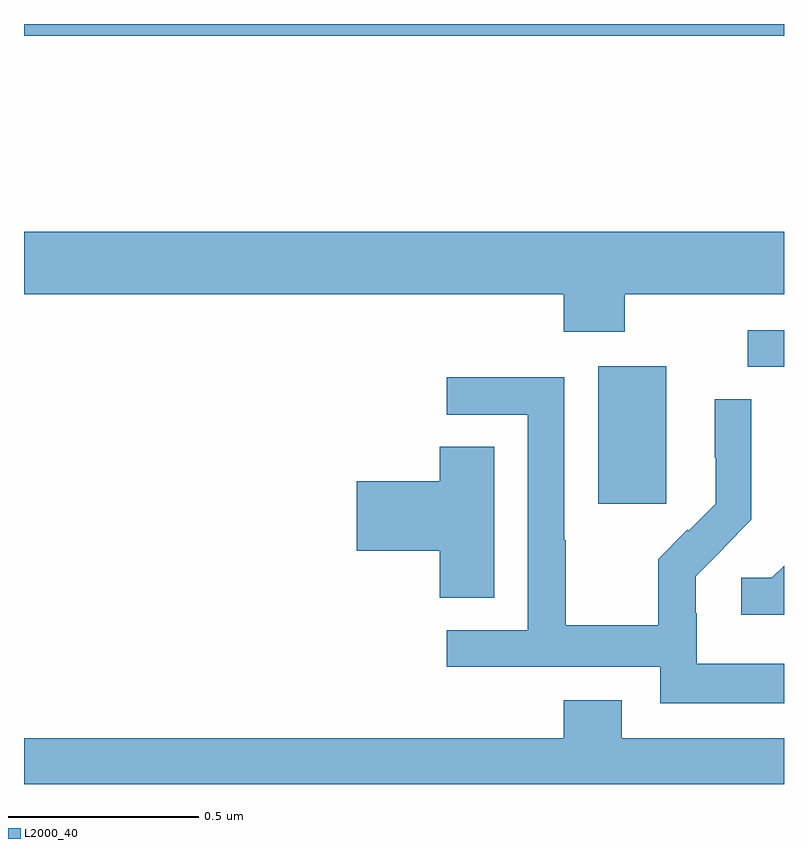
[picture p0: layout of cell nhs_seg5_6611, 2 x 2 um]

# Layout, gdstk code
import gdstk
lib = gdstk.Library(unit=1e-6, precision=1e-09)
def R(c, l, rs):  # rectangles x0, y0, x1, y1
    for r in rs: c.add(gdstk.rectangle(r[:2], r[2:], *l))
def P(c, l, *ps):  # polygons
    for p in ps: c.add(gdstk.Polygon(p, *l))
L2000_40 = (2000, 40)

nhs_seg5_6611 = lib.new_cell('nhs_seg5_6611')
R(nhs_seg5_6611, L2000_40, [(199.511,861.537,199.69,861.898), (199.905,861.897,200,861.993), (198,862.768,200,862.799)])
P(nhs_seg5_6611, L2000_40, [(199.581,862.088),(200,862.088),(200,862.252),(198,862.252),(198,862.088),(199.421,862.088),(199.421,861.989),(199.581,861.989)],
  [(200,861.115),(199.77,861.115),(199.77,861.249),(199.768,861.249),(199.768,861.346),(199.842,861.42),(199.841,861.421),(199.914,861.494),(199.914,861.812),(199.818,861.812),(199.818,861.658),(199.82,861.658),(199.82,861.536),(199.749,861.465),(199.746,861.468),(199.669,861.391),(199.669,861.217),(199.425,861.217),(199.425,861.44),(199.422,861.44),(199.422,861.87),(199.113,861.87),(199.113,861.771),(199.326,861.771),(199.326,861.204),(199.113,861.204),(199.113,861.108),(199.674,861.108),(199.674,861.011),(200,861.011)],
  [(199.237,861.686),(199.094,861.686),(199.094,861.596),(198.876,861.596),(198.876,861.413),(199.094,861.413),(199.094,861.289),(199.237,861.289)],
  [(200,861.374),(199.968,861.342),(199.887,861.342),(199.887,861.245),(200,861.245)],
  [(199.421,861.019),(199.421,860.92),(198,860.92),(198,860.799),(200,860.799),(200,860.92),(199.573,860.92),(199.573,861.019)])

lib.write_gds('nhs_seg5_6611.gds')
